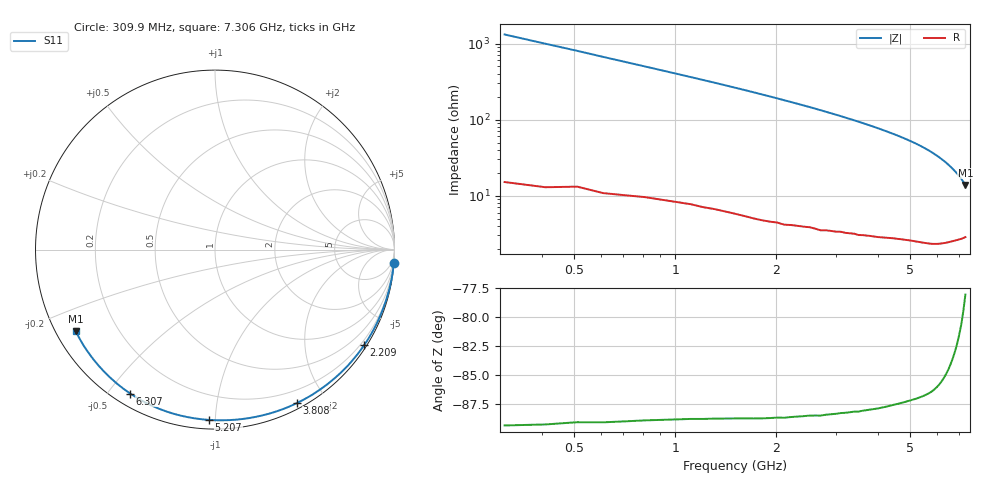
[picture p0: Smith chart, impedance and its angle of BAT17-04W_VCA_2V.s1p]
! Infineon Technologies  Discrete & RF Semiconductors
! BAT17-04W
! VCA = 2 V
! One-Port S-Parameters
# Hz  S  MA  R  50
!f  S11
!Hz  Mag  Ang
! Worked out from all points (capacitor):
!   71 points, 309.9 MHz to 7.306 GHz, reference 50 ohm
!   read as one part to ground: C = 390 fF near 309.9 MHz
!   lowest |Z| = 13.8 ohm at 7.306 GHz (marker M1)
!   S11 on the Smith chart (normalised r, x): 309.9 MHz: 0, -26; 2.209 GHz: 0.08, -3.41; 3.808 GHz: 0.06, -1.67; 5.207 GHz: 0.05, -0.96; 6.307 GHz: 0.05, -0.57; 7.306 GHz: 0.06, -0.27
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3.0985e8  0.9991 -4.3
7.0965e8  0.9969 -10.0
1.2094e9  0.9938 -17.1
1.50925e9  0.9919 -21.6
1.70915e9  0.9909 -24.7
2.10895e9  0.9881 -31.1
2.2089e9  0.987 -32.7
2.6087e9  0.9833 -39.5
3.0085e9  0.9791 -46.7
3.4083e9  0.9742 -54.1
3.8081e9  0.9692 -61.9
4.008e9  0.9667 -65.9
4.30785e9  0.9621 -72.1
4.50775e9  0.959 -76.3
4.70765e9  0.9562 -80.7
5.0075e9  0.9521 -87.4
5.2074e9  0.9496 -92.0
5.4073e9  0.9471 -96.8
5.6072e9  0.9445 -101.7
5.8071e9  0.9417 -106.9
6.007e9  0.9379 -112.2
6.10695e9  0.9358 -115.0
6.30685e9  0.9307 -120.5
6.50675e9  0.9252 -126.2
6.70665e9  0.9192 -131.9
6.90655e9  0.913 -137.7
7.10645e9  0.9068 -143.7
7.30635e9  0.8991 -149.8
